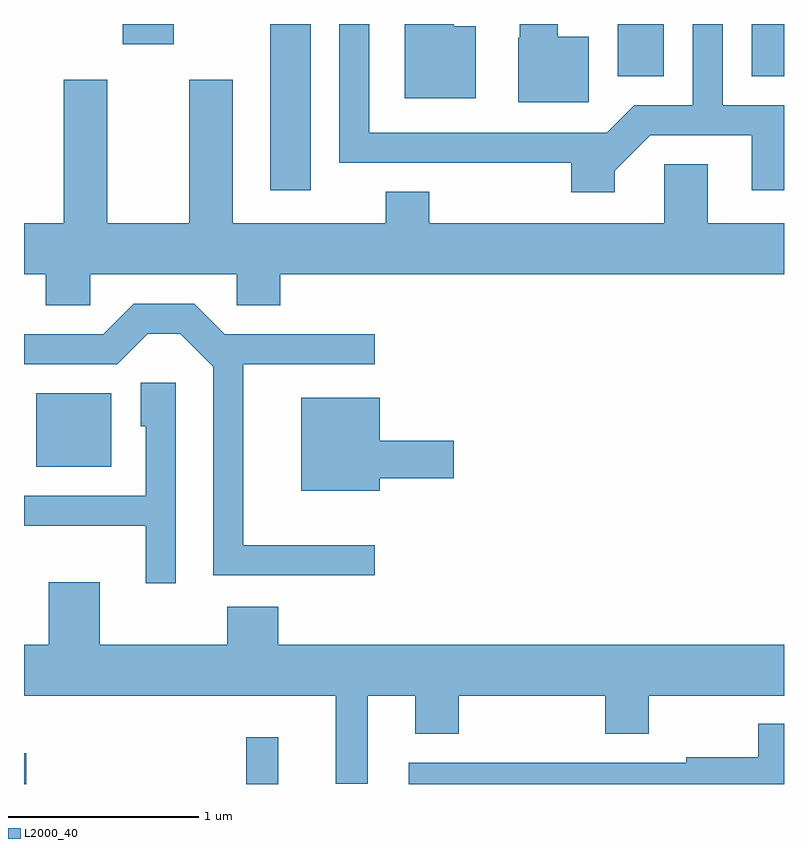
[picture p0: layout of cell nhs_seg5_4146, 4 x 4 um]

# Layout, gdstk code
import gdstk
lib = gdstk.Library(unit=1e-6, precision=1e-09)
def R(c, l, rs):  # rectangles x0, y0, x1, y1
    for r in rs: c.add(gdstk.rectangle(r[:2], r[2:], *l))
def P(c, l, *ps):  # polygons
    for p in ps: c.add(gdstk.Polygon(p, *l))
L2000_40 = (2000, 40)

nhs_seg5_4146 = lib.new_cell('nhs_seg5_4146')
R(nhs_seg5_4146, L2000_40, [(307.611,1494.072,307.624,1494.234), (308.781,1494.072,308.949,1494.318), (307.676,1495.741,308.069,1496.129), (308.906,1497.196,309.119,1498.072), (310.736,1497.796,310.979,1498.072), (311.441,1497.796,311.611,1498.072), (308.131,1497.966,308.399,1498.072)])
P(nhs_seg5_4146, L2000_40, [(310.719,1497.299),(310.907,1497.486),(311.441,1497.486),(311.441,1497.196),(311.611,1497.196),(311.611,1497.644),(311.289,1497.644),(311.289,1498.072),(311.131,1498.072),(311.131,1497.644),(310.824,1497.644),(310.679,1497.499),(309.429,1497.499),(309.429,1498.072),(309.271,1498.072),(309.271,1497.341),(310.491,1497.341),(310.491,1497.186),(310.719,1497.186)],
  [(310.584,1498.004),(310.419,1498.004),(310.419,1498.072),(310.221,1498.072),(310.221,1498),(310.211,1498),(310.211,1497.661),(310.584,1497.661)],
  [(309.989,1498.059),(309.874,1498.059),(309.874,1498.072),(309.616,1498.072),(309.616,1497.681),(309.989,1497.681)],
  [(307.959,1496.756),(308.731,1496.756),(308.731,1496.591),(308.959,1496.591),(308.959,1496.756),(311.611,1496.756),(311.611,1497.024),(311.209,1497.024),(311.209,1497.334),(310.981,1497.334),(310.981,1497.024),(309.744,1497.024),(309.744,1497.189),(309.516,1497.189),(309.516,1497.024),(308.709,1497.024),(308.709,1497.779),(308.481,1497.779),(308.481,1497.024),(308.049,1497.024),(308.049,1497.779),(307.821,1497.779),(307.821,1497.024),(307.611,1497.024),(307.611,1496.756),(307.726,1496.756),(307.726,1496.591),(307.959,1496.591)],
  [(309.458,1495.329),(308.764,1495.329),(308.764,1496.281),(309.458,1496.281),(309.458,1496.439),(308.667,1496.439),(308.507,1496.599),(308.189,1496.599),(308.029,1496.439),(307.611,1496.439),(307.611,1496.281),(308.102,1496.281),(308.262,1496.441),(308.434,1496.441),(308.606,1496.269),(308.606,1495.171),(309.458,1495.171)],
  [(308.409,1496.184),(308.226,1496.184),(308.226,1495.956),(308.251,1495.956),(308.251,1495.589),(307.611,1495.589),(307.611,1495.431),(308.251,1495.431),(308.251,1495.128),(308.409,1495.128)],
  [(309.484,1495.681),(309.874,1495.681),(309.874,1495.879),(309.484,1495.879),(309.484,1496.104),(309.071,1496.104),(309.071,1495.616),(309.484,1495.616)],
  [(309.419,1494.536),(309.671,1494.536),(309.671,1494.336),(309.899,1494.336),(309.899,1494.536),(310.671,1494.536),(310.671,1494.336),(310.899,1494.336),(310.899,1494.536),(311.611,1494.536),(311.611,1494.804),(308.949,1494.804),(308.949,1495.004),(308.681,1495.004),(308.681,1494.804),(308.009,1494.804),(308.009,1495.134),(307.741,1495.134),(307.741,1494.804),(307.611,1494.804),(307.611,1494.536),(309.251,1494.536),(309.251,1494.073),(309.419,1494.073)],
  [(311.611,1494.388),(311.476,1494.388),(311.476,1494.214),(311.096,1494.214),(311.096,1494.184),(309.636,1494.184),(309.636,1494.072),(311.611,1494.072)])

lib.write_gds('nhs_seg5_4146.gds')
